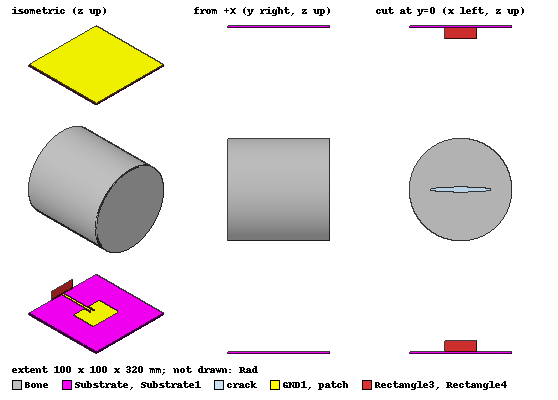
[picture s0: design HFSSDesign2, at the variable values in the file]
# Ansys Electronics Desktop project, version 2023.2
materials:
  vacuum: permittivity=1
  FR4_epoxy: permittivity=4.4 dielectric_loss_tangent=0.02
  air: permittivity=1.0006 permeability=1.0000004
  Material1: permittivity=11.4 conductivity=0.385 dielectric_loss_tangent=0.04

design HFSSDesign2 (HFSS, HFSS Modal Network, model units mm)
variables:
  hs = 1.6mm
  w = 100mm
  l = 100mm
  l1 = 29.443143mm
  w1 = 38.036289mm
  t = 3.058975mm
  lambda = 125mm
  tc = 2*t
  lc = 9.25mm  # optimise 5mm..15mm
  r1 = 5mm
  x_scale = 6
  y_scale = 2
  z_scale = 0.5
  crack_rot = 0deg
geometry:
  Substrate [FR4_epoxy] = box(corner=(-w/2, -l/2, 0mm), size=(w, l, hs))
  patch = rectangle(corner=(-w1/2, -l1/2, hs), x_size=w1, y_size=l1)
  feed = rectangle(corner=(-t/2, -l /2, 1.6mm), x_size=t, y_size=w/2)
  GND = rectangle(corner=(-w/2, -l/2, 0mm), x_size=w, y_size=l)
  Rad [air] = box(corner=(-w/2, -l/2, -10*hs), size=(w, l, 220*hs))
  Rectangle3 = rectangle(corner=(-5*t, -w/2, 0mm), z_size=8*hs, x_size=10*t)
  cut = rectangle(corner=(-tc/2, -l1/2, hs), x_size=tc, y_size=lc)
  patch.subtract(cut)
  patch.unite(feed)
  Bone [Material1] = cylinder(axis=Y, base_centre=(0mm, 50mm, 100*hs), radius=50mm, height=-100mm)
  Substrate1 [FR4_epoxy] = box(corner=(-w/2, -l/2, 0mm), size=(w, l, hs))
  patch1 = rectangle(corner=(-w1/2, -l1/2, hs), x_size=w1, y_size=l1)
  cut1 = rectangle(corner=(-tc/2, -l1/2, hs), x_size=tc, y_size=lc)
  patch1.subtract(cut1)
  feed1 = rectangle(corner=(-t/2, -l /2, 1.6mm), x_size=t, y_size=w/2)
  patch1.unite(feed1)
  GND1 = rectangle(corner=(-w/2, -l/2, 0mm), x_size=w, y_size=l)
  [Substrate1, patch1, GND1].rotate(axis=Y, angle=180deg)
  [Substrate1, patch1, GND1].move(0mm, 0mm, 200*hs)
  Rectangle4 = rectangle(corner=(-5*t, -50mm, 200*hs), z_size=-8*hs, x_size=10*t)
  coordinate_system RelativeCS1 = origin=(0mm, 0mm, 160mm) x=(1mm, 0mm, 0mm) y=(0mm, 1mm, 0mm)
  Sphere1 = sphere(centre=(0mm, 0mm, 0mm), radius=r1) in RelativeCS1
  crack [air] = Sphere1.copy()
  Sphere1.delete()
  crack.scale(x_scale, y_scale, z_scale) in RelativeCS1
  Sphere1_1_1 = crack.copy()
  Bone.subtract(Sphere1_1_1)
  [Bone, crack].rotate(axis=Y, angle=crack_rot) in RelativeCS1
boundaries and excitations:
  PerfE1: Perfect E Objects=patch
  PerfE2: Perfect E Objects=GND
  Rad1: Radiation Objects=Rad
  PerfE3: Perfect E Objects=patch1
  PerfE4: Perfect E Objects=GND1
  1: Wave Port Objects=Rectangle3 WavePortType=Modal NumModes=1 Modes{Mode1{IntLine{(0, -50, 0) -> (0, -50, 12.8)} CharImp=Zpi}}
  2: Wave Port Objects=Rectangle4 WavePortType=Modal NumModes=1 Modes{Mode1{IntLine{(0, -50, 320) -> (0, -50, 307.2)} CharImp=Zpi}}
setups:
  Setup1: HfssDriven Frequency=2.4GHz MaxDeltaS=0.02 MaximumPasses=6 MinimumPasses=1 MinimumConvergedPasses=1 PercentRefinement=30 BasisOrder=1 PortAccuracy=2 DrivenSolverType="Direct Solver"
    sweep Sweep: 1.2GHz to 3.6GHz, 401 points; Type=Fast SaveFields
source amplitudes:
  1:1: 1V 0deg
  2:1: 0W 0deg
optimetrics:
  ParametricSetup1: Parametric Sim._Setups=[Setup1]
    sweep crack_rot: LIN 0deg 360deg 30deg
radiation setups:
  Infinite Sphere1: Infinite Sphere Theta=-180deg..180deg step 2deg Phi=0deg..90deg step 90deg
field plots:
  Mag_E1: E Field over patch.face(at (0, -17.6392, 1.6)) on Setup1 : Sweep at Freq=2.19GHz Phase=0deg
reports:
  S Parameter Plot 1: dB(S(1,1)), dB(S(2,1)) vs Freq on Setup1 : Sweep [lc=all]; markers m1 at 2.19GHz, m2 at 2.364GHz
  Gain Plot 1: dB(GainTotal) vs Theta on Setup1 : LastAdaptive, Infinite Sphere1 [Phi=all Freq=2.4GHz lc=all]
  Gain Plot 2: GainTotal vs Theta on Setup1 : Sweep, Infinite Sphere1 [Phi=all Freq=2.19GHz lc=9.25mm]
  S Parameter Plot 2: dB(S(1,2)) vs Freq on Setup1 : Sweep; markers m1 at 2.37GHz
  S Parameter Plot 3: dB(S(1,1)) vs Freq on Setup1 : Sweep [r1=all]
  S Parameter Plot 4: dB(S(2,1)) vs Freq on Setup1 : Sweep [r1=all]
  S Parameter Plot 5: dB(S(1,1)) vs Freq on Setup1 : Sweep [crack_rot=all]
  S Parameter Plot 6: dB(S(2,1)) vs Freq on Setup1 : Sweep [crack_rot=all]
